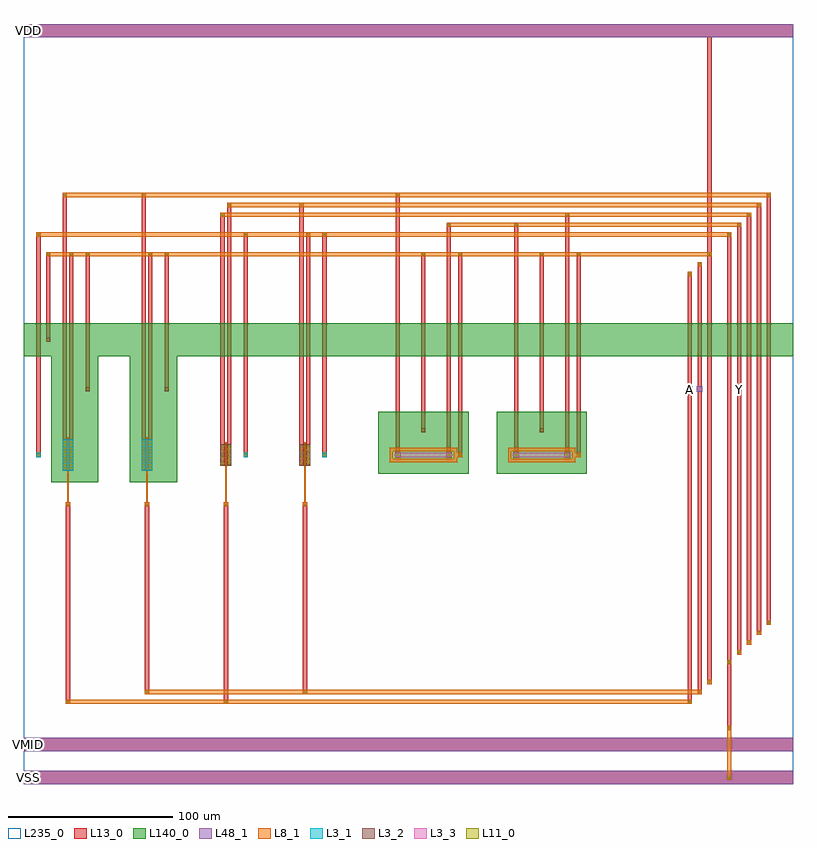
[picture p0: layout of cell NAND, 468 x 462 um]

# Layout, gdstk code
import gdstk
lib = gdstk.Library(unit=1e-6, precision=1e-09)
def R(c, l, rs):  # rectangles x0, y0, x1, y1
    for r in rs: c.add(gdstk.rectangle(r[:2], r[2:], *l))
def A(c, l, x, y, w, h, nx, ny, dx, dy):  # array of equal rectangles
    R(c, l, [(x+i*dx, y+j*dy, x+i*dx+w, y+j*dy+h) for i in range(nx) for j in range(ny)])
def P(c, l, *ps):  # polygons
    for p in ps: c.add(gdstk.Polygon(p, *l))
L3_1 = (3, 1)
L3_2 = (3, 2)
L3_3 = (3, 3)
L8_1 = (8, 1)
L11_0 = (11, 0)
L13_0 = (13, 0)
L48_1 = (48, 1)
L140_0 = (140, 0)
L235_0 = (235, 0)

fet_p__nand = lib.new_cell('fet_p__NAND')
R(fet_p__nand, L3_1, [(-3.3,-9.5,3.3,9.5)])
A(fet_p__nand, L11_0, -2.5, -8.5, 1, 1, 1, 9, 0, 2)
A(fet_p__nand, L11_0, 1.5, -8.5, 1, 1, 1, 9, 0, 2)
R(fet_p__nand, L13_0, [(-3.3,-9.3,-0.7,9.3), (0.7,-9.3,3.3,9.3)])
fet_p__nand.add(gdstk.FlexPath([(0,-10.7),(0,10.7)], 1, ends="flush", simple_path=True, layer=8, datatype=1))  # L8_1

cont_g__nand = lib.new_cell('cont_g__NAND')
R(cont_g__nand, L8_1, [(-1.3,-1.3,1.3,1.3)])
R(cont_g__nand, L11_0, [(-0.5,-0.5,0.5,0.5)])
R(cont_g__nand, L13_0, [(-1.3,-1.3,1.3,1.3)])

cont_n__nand = lib.new_cell('cont_n__NAND')
R(cont_n__nand, L3_2, [(-1.3,-1.3,1.3,1.3)])
R(cont_n__nand, L11_0, [(-0.5,-0.5,0.5,0.5)])
R(cont_n__nand, L13_0, [(-1.3,-1.3,1.3,1.3)])

fet_n__nand = lib.new_cell('fet_n__NAND')
R(fet_n__nand, L3_2, [(-3.3,-6.5,3.3,6.5)])
A(fet_n__nand, L11_0, -2.5, -5.5, 1, 1, 1, 6, 0, 2)
A(fet_n__nand, L11_0, 1.5, -5.5, 1, 1, 1, 6, 0, 2)
R(fet_n__nand, L13_0, [(-3.3,-6.3,-0.7,6.3), (0.7,-6.3,3.3,6.3)])
fet_n__nand.add(gdstk.FlexPath([(0,-7.7),(0,7.7)], 1, ends="flush", simple_path=True, layer=8, datatype=1))  # L8_1

cont_p__nand = lib.new_cell('cont_p__NAND')
R(cont_p__nand, L3_1, [(-1.3,-1.3,1.3,1.3)])
R(cont_p__nand, L11_0, [(-0.5,-0.5,0.5,0.5)])
R(cont_p__nand, L13_0, [(-1.3,-1.3,1.3,1.3)])

res_diff__nand = lib.new_cell('res_diff__NAND')
P(res_diff__nand, L3_3, [(-16.5,-1.4),(-17.5,-0.4),(-17.5,0.4),(-16.5,1.4),(16.5,1.4),(17.5,0.4),(17.5,-0.4),(16.5,-1.4)])
P(res_diff__nand, L8_1, [(-20.5,-4.4),(-20.5,2.4),(-18.5,2.4),(-18.5,-2.4),(18.5,-2.4),(18.5,2.4),(-20.5,2.4),(-20.5,4.4),(20.5,4.4),(20.5,-4.4)])
R(res_diff__nand, L11_0, [(-16,-0.5,-15,0.5), (15,-0.5,16,0.5)])
R(res_diff__nand, L13_0, [(-17.2,-1.7,-13.8,1.7), (13.8,-1.7,17.2,1.7)])

nand = lib.new_cell('NAND')
A(nand, L8_1, 26.5, 169.5, 1, 31, 4, 1, 48, 0)
R(nand, L8_1, [(427.7,2.7,430.3,35.3), (25.7,48.7,406.3,51.3), (73.7,54.7,412.3,57.3), (262.2,198.7,266.8,201.3), (334.2,198.7,338.8,201.3), (13.7,320.7,418.3,323.3), (7.7,332.7,430.3,335.3), (257.2,338.7,436.3,341.3), (119.7,344.7,442.3,347.3), (123.7,350.7,448.3,353.3), (23.7,356.7,454.3,359.3)])
R(nand, L13_0, [(0,0,468,8), (0,20,468,28), (427.7,32.7,430.3,75.3), (25.7,48.7,28.3,171.3), (121.7,48.7,124.3,171.3), (403.7,48.7,406.3,311.3), (73.7,54.7,76.3,171.3), (169.7,54.7,172.3,171.3), (409.7,54.7,412.3,317.3), (415.7,60.7,418.3,323.3), (427.7,72.7,430.3,335.3), (433.7,78.7,436.3,341.3), (439.7,84.7,442.3,347.3), (445.7,90.7,448.3,353.3), (451.7,96.7,454.3,359.3), (7.7,198.7,10.3,335.3), (23.7,198.7,26.3,359.3), (27.7,198.7,30.3,323.3), (71.7,198.7,74.3,359.3), (75.7,198.7,78.3,323.3), (119.7,198.7,122.3,347.3), (123.7,198.7,126.3,353.3), (133.7,198.7,136.3,335.3), (167.7,198.7,170.3,353.3), (171.7,198.7,174.3,335.3), (181.7,198.7,184.3,335.3), (226.2,198.7,228.8,359.3), (257.2,198.7,259.8,341.3), (264.2,198.7,266.8,323.3), (298.2,198.7,300.8,341.3), (329.2,198.7,331.8,347.3), (336.2,198.7,338.8,323.3), (241.7,213.7,244.3,323.3), (313.7,213.7,316.3,323.3), (403.3,238.3,406.7,241.7), (409.3,238.3,412.7,241.7), (433.3,238.3,436.7,241.7), (37.7,238.7,40.3,323.3), (85.7,238.7,88.3,323.3), (13.7,268.7,16.3,323.3), (415.7,320.7,418.3,459.3), (0,454,468,462)])
R(nand, L48_1, [(0,0,468,8), (0,20,468,28), (403.3,238.3,406.7,241.7), (409.3,238.3,412.7,241.7), (433.3,238.3,436.7,241.7), (0,454,468,462)])
R(nand, L140_0, [(16.7,183.5,45.3,280), (64.7,183.5,93.3,280), (215.5,188.6,270.5,226.4), (287.5,188.6,342.5,226.4), (0,260,468,280)])
R(nand, L235_0, [(0,0,468,462)])
nand.add(gdstk.Reference(fet_p__nand, (27,200)))
nand.add(gdstk.Reference(cont_g__nand, (27,170)))
nand.add(gdstk.Reference(cont_n__nand, (39,240)))
nand.add(gdstk.Reference(fet_p__nand, (75,200)))
nand.add(gdstk.Reference(cont_g__nand, (75,170)))
nand.add(gdstk.Reference(cont_n__nand, (87,240)))
nand.add(gdstk.Reference(fet_n__nand, (123,200)))
nand.add(gdstk.Reference(cont_g__nand, (123,170)))
nand.add(gdstk.Reference(cont_p__nand, (135,200)))
nand.add(gdstk.Reference(fet_n__nand, (171,200)))
nand.add(gdstk.Reference(cont_g__nand, (171,170)))
nand.add(gdstk.Reference(cont_p__nand, (183,200)))
nand.add(gdstk.Reference(res_diff__nand, (243,200)))
nand.add(gdstk.Reference(cont_n__nand, (243,215)))
nand.add(gdstk.Reference(cont_g__nand, (265.5,200)))
nand.add(gdstk.Reference(res_diff__nand, (315,200)))
nand.add(gdstk.Reference(cont_n__nand, (315,215)))
nand.add(gdstk.Reference(cont_g__nand, (337.5,200)))
nand.add(gdstk.Reference(cont_n__nand, (15,270)))
nand.add(gdstk.Reference(cont_p__nand, (9,200)))
nand.add(gdstk.Reference(cont_g__nand, (27,50)))
nand.add(gdstk.Reference(cont_g__nand, (123,50)))
nand.add(gdstk.Reference(cont_g__nand, (405,50)))
nand.add(gdstk.Reference(cont_g__nand, (405,310)))
nand.add(gdstk.Reference(cont_g__nand, (75,56)))
nand.add(gdstk.Reference(cont_g__nand, (171,56)))
nand.add(gdstk.Reference(cont_g__nand, (411,56)))
nand.add(gdstk.Reference(cont_g__nand, (411,316)))
nand.add(gdstk.Reference(cont_g__nand, (417,62)))
nand.add(gdstk.Reference(cont_g__nand, (29,322)))
nand.add(gdstk.Reference(cont_g__nand, (39,322)))
nand.add(gdstk.Reference(cont_g__nand, (77,322)))
nand.add(gdstk.Reference(cont_g__nand, (87,322)))
nand.add(gdstk.Reference(cont_g__nand, (243,322)))
nand.add(gdstk.Reference(cont_g__nand, (265.5,322)))
nand.add(gdstk.Reference(cont_g__nand, (315,322)))
nand.add(gdstk.Reference(cont_g__nand, (337.5,322)))
nand.add(gdstk.Reference(cont_g__nand, (15,322)))
nand.add(gdstk.Reference(cont_g__nand, (417,322)))
nand.add(gdstk.Reference(cont_g__nand, (429,74)))
nand.add(gdstk.Reference(cont_g__nand, (135,334)))
nand.add(gdstk.Reference(cont_g__nand, (173,334)))
nand.add(gdstk.Reference(cont_g__nand, (183,334)))
nand.add(gdstk.Reference(cont_g__nand, (9,334)))
nand.add(gdstk.Reference(cont_g__nand, (429,334)))
nand.add(gdstk.Reference(cont_g__nand, (429,34)))
nand.add(gdstk.Reference(cont_g__nand, (429,4)))
nand.add(gdstk.Reference(cont_g__nand, (435,80)))
nand.add(gdstk.Reference(cont_g__nand, (258.5,340)))
nand.add(gdstk.Reference(cont_g__nand, (299.5,340)))
nand.add(gdstk.Reference(cont_g__nand, (435,340)))
nand.add(gdstk.Reference(cont_g__nand, (441,86)))
nand.add(gdstk.Reference(cont_g__nand, (121,346)))
nand.add(gdstk.Reference(cont_g__nand, (330.5,346)))
nand.add(gdstk.Reference(cont_g__nand, (441,346)))
nand.add(gdstk.Reference(cont_g__nand, (447,92)))
nand.add(gdstk.Reference(cont_g__nand, (125,352)))
nand.add(gdstk.Reference(cont_g__nand, (169,352)))
nand.add(gdstk.Reference(cont_g__nand, (447,352)))
nand.add(gdstk.Reference(cont_g__nand, (453,98)))
nand.add(gdstk.Reference(cont_g__nand, (25,358)))
nand.add(gdstk.Reference(cont_g__nand, (73,358)))
nand.add(gdstk.Reference(cont_g__nand, (227.5,358)))
nand.add(gdstk.Reference(cont_g__nand, (453,358)))
nand.add(gdstk.Label('A', (405,240), layer=48, texttype=0))
nand.add(gdstk.Label('B', (411,240), layer=48, texttype=0))
nand.add(gdstk.Label('Y', (435,240), layer=48, texttype=0))
nand.add(gdstk.Label('VDD', (3,458), layer=48, texttype=0))
nand.add(gdstk.Label('VMID', (3,24), layer=48, texttype=0))
nand.add(gdstk.Label('VSS', (3,4), layer=48, texttype=0))

lib.write_gds('NAND.gds')
